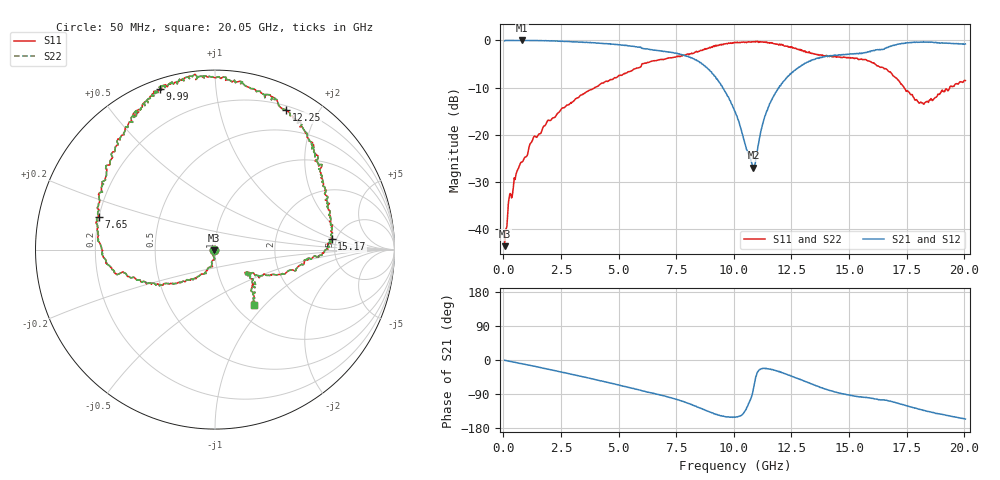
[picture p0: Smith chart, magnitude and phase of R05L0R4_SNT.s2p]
! P/N: 250R05L0R4BV4
! Measured by Marlon
! Oct. 29, 2003
#	mhz	s	ma	r	50
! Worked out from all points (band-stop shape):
!   1001 points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, 50 MHz to 20.05 GHz, reference 50 ohm
!   highest |S21| = 0.00 dB at 810 MHz (marker M1); lowest = -27.0 dB at 10.85 GHz (marker M2)
!   |S21| within 3 dB of the highest: start of sweep to 7.731 GHz; 14.82 GHz to end of sweep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
!   lowest |S11| = -43.7 dB at 50 MHz (marker M3), VSWR 1.01, Z = 49.6 - j0.482 ohm
!   |S11| at or under -10 dB: start of sweep to 3.966 GHz; 17.38 GHz to 19.37 GHz (1.984 GHz wide, 10.8 % of centre)
!   |S22| runs from -43.7 to -0.1 dB; largest |S21 - S12| = 0
!   S11 on the Smith chart (normalised r, x): 50 MHz: 0.99, -0.01; 7.65 GHz: 0.20, +0.13; 9.99 GHz: 0.04, +0.71; 12.25 GHz: 0.24, +1.61; 15.17 GHz: 4.56, +0.92; 20.05 GHz: 1.22, -0.87
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50  0.00656 -132.1  0.9906 -0.8  0.9906 -0.8  0.00656 -132.1
290  0.02378 -86.4  1 -3.6  1 -3.6  0.02378 -86.4
570  0.03982 -99.8  1 -7.1  1 -7.1  0.03982 -99.8
810  0.0514 -92.6  1 -9.9  1 -9.9  0.0514 -92.6
1250  0.0863 -102.0  0.9986 -15.2  0.9986 -15.2  0.0863 -102.0
1870  0.1343 -113.0  0.9932 -23.3  0.9932 -23.3  0.1343 -113.0
3390  0.2638 -135.9  0.9577 -43.4  0.9577 -43.4  0.2638 -135.9
5250  0.4476 -156.2  0.8916 -70.1  0.8916 -70.1  0.4476 -156.2
6730  0.6222 -176.0  0.7786 -91.0  0.7786 -91.0  0.6222 -176.0
7650  0.6728 164.2  0.7119 -106.6  0.7119 -106.6  0.6728 164.2
8850  0.8167 128.4  0.507 -134.7  0.507 -134.7  0.8167 128.4
9990  0.9482 108.9  0.1909 -150.8  0.1909 -150.8  0.9482 108.9
10050  0.9565 109.0  0.1762 -150.3  0.1762 -150.3  0.9565 109.0
10850  0.9675 100.3  0.0445 -75.7  0.0445 -75.7  0.9675 100.3
11450  0.9447 86.4  0.1802 -23.2  0.1802 -23.2  0.9447 86.4
12250  0.8743 63.0  0.3933 -36.8  0.3933 -36.8  0.8743 63.0
13390  0.7287 36.3  0.6195 -63.5  0.6195 -63.5  0.7287 36.3
14110  0.6811 23.4  0.6854 -79.3  0.6854 -79.3  0.6811 23.4
15170  0.6524 5.1  0.7175 -94.6  0.7175 -94.6  0.6524 5.1
16730  0.4679 -12.7  0.8613 -108.0  0.8613 -108.0  0.4679 -12.7
18150  0.2181 -35.7  0.9585 -131.4  0.9585 -131.4  0.2181 -35.7
20050  0.3755 -54.6  0.918 -155.7  0.918 -155.7  0.3755 -54.6
